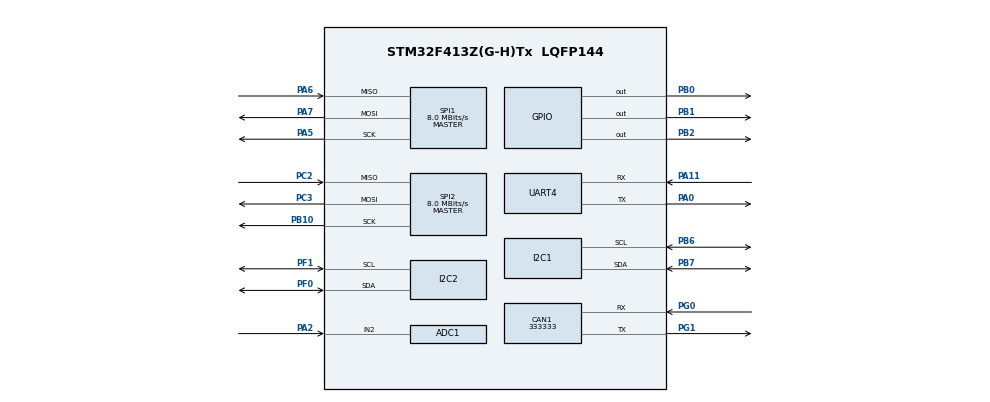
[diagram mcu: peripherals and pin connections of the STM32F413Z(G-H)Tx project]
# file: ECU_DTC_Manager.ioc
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ADC1.Channel-2\#ChannelRegularConversion=ADC_CHANNEL_2
ADC1.NbrOfConversionFlag=1
ADC1.Rank-2\#ChannelRegularConversion=1
ADC1.SamplingTime-2\#ChannelRegularConversion=ADC_SAMPLETIME_3CYCLES
ADC1.master=1
CAN1.CalculateBaudRate=333333
CAN1.CalculateTimeBit=3000
CAN1.CalculateTimeQuantum=1000.0
Dma.I2C1_RX.0.Direction=DMA_PERIPH_TO_MEMORY
Dma.I2C1_RX.0.FIFOMode=DMA_FIFOMODE_DISABLE
Dma.I2C1_RX.0.Instance=DMA1_Stream0
Dma.I2C1_RX.0.MemDataAlignment=DMA_MDATAALIGN_BYTE
Dma.I2C1_RX.0.MemInc=DMA_MINC_ENABLE
Dma.I2C1_RX.0.Mode=DMA_NORMAL
Dma.I2C1_RX.0.PeriphDataAlignment=DMA_PDATAALIGN_BYTE
Dma.I2C1_RX.0.PeriphInc=DMA_PINC_DISABLE
Dma.I2C1_RX.0.Priority=DMA_PRIORITY_MEDIUM
Dma.I2C1_TX.1.Direction=DMA_MEMORY_TO_PERIPH
Dma.I2C1_TX.1.FIFOMode=DMA_FIFOMODE_DISABLE
Dma.I2C1_TX.1.Instance=DMA1_Stream6
Dma.I2C1_TX.1.MemDataAlignment=DMA_MDATAALIGN_BYTE
Dma.I2C1_TX.1.MemInc=DMA_MINC_ENABLE
Dma.I2C1_TX.1.Mode=DMA_NORMAL
Dma.I2C1_TX.1.PeriphDataAlignment=DMA_PDATAALIGN_BYTE
Dma.I2C1_TX.1.PeriphInc=DMA_PINC_DISABLE
Dma.I2C1_TX.1.Priority=DMA_PRIORITY_MEDIUM
Dma.I2C2_RX.2.Direction=DMA_PERIPH_TO_MEMORY
Dma.I2C2_RX.2.FIFOMode=DMA_FIFOMODE_DISABLE
Dma.I2C2_RX.2.Instance=DMA1_Stream2
Dma.I2C2_RX.2.MemDataAlignment=DMA_MDATAALIGN_BYTE
Dma.I2C2_RX.2.MemInc=DMA_MINC_ENABLE
Dma.I2C2_RX.2.Mode=DMA_NORMAL
Dma.I2C2_RX.2.PeriphDataAlignment=DMA_PDATAALIGN_BYTE
Dma.I2C2_RX.2.PeriphInc=DMA_PINC_DISABLE
Dma.I2C2_RX.2.Priority=DMA_PRIORITY_LOW
Dma.I2C2_TX.3.Direction=DMA_MEMORY_TO_PERIPH
Dma.I2C2_TX.3.FIFOMode=DMA_FIFOMODE_DISABLE
Dma.I2C2_TX.3.Instance=DMA1_Stream7
Dma.I2C2_TX.3.MemDataAlignment=DMA_MDATAALIGN_BYTE
Dma.I2C2_TX.3.MemInc=DMA_MINC_ENABLE
Dma.I2C2_TX.3.Mode=DMA_NORMAL
Dma.I2C2_TX.3.PeriphDataAlignment=DMA_PDATAALIGN_BYTE
Dma.I2C2_TX.3.PeriphInc=DMA_PINC_DISABLE
Dma.I2C2_TX.3.Priority=DMA_PRIORITY_LOW
Dma.Request0=I2C1_RX
Dma.Request1=I2C1_TX
Dma.Request2=I2C2_RX
Dma.Request3=I2C2_TX
Dma.Request4=SPI1_RX
Dma.Request5=SPI1_TX
Dma.Request6=SPI2_RX
Dma.Request7=SPI2_TX
Dma.SPI1_RX.4.Direction=DMA_PERIPH_TO_MEMORY
Dma.SPI1_RX.4.FIFOMode=DMA_FIFOMODE_DISABLE
Dma.SPI1_RX.4.Instance=DMA2_Stream0
Dma.SPI1_RX.4.MemDataAlignment=DMA_MDATAALIGN_BYTE
Dma.SPI1_RX.4.MemInc=DMA_MINC_ENABLE
Dma.SPI1_RX.4.Mode=DMA_NORMAL
Dma.SPI1_RX.4.PeriphDataAlignment=DMA_PDATAALIGN_BYTE
Dma.SPI1_RX.4.PeriphInc=DMA_PINC_DISABLE
Dma.SPI1_RX.4.Priority=DMA_PRIORITY_LOW
Dma.SPI1_TX.5.Direction=DMA_MEMORY_TO_PERIPH
Dma.SPI1_TX.5.FIFOMode=DMA_FIFOMODE_DISABLE
Dma.SPI1_TX.5.Instance=DMA2_Stream3
Dma.SPI1_TX.5.MemDataAlignment=DMA_MDATAALIGN_BYTE
Dma.SPI1_TX.5.MemInc=DMA_MINC_ENABLE
Dma.SPI1_TX.5.Mode=DMA_NORMAL
Dma.SPI1_TX.5.PeriphDataAlignment=DMA_PDATAALIGN_BYTE
Dma.SPI1_TX.5.PeriphInc=DMA_PINC_DISABLE
Dma.SPI1_TX.5.Priority=DMA_PRIORITY_LOW
Dma.SPI2_RX.6.Direction=DMA_PERIPH_TO_MEMORY
Dma.SPI2_RX.6.FIFOMode=DMA_FIFOMODE_DISABLE
Dma.SPI2_RX.6.Instance=DMA1_Stream3
Dma.SPI2_RX.6.MemDataAlignment=DMA_MDATAALIGN_BYTE
Dma.SPI2_RX.6.MemInc=DMA_MINC_ENABLE
Dma.SPI2_RX.6.Mode=DMA_NORMAL
Dma.SPI2_RX.6.PeriphDataAlignment=DMA_PDATAALIGN_BYTE
Dma.SPI2_RX.6.PeriphInc=DMA_PINC_DISABLE
Dma.SPI2_RX.6.Priority=DMA_PRIORITY_LOW
Dma.SPI2_TX.7.Direction=DMA_MEMORY_TO_PERIPH
Dma.SPI2_TX.7.FIFOMode=DMA_FIFOMODE_DISABLE
Dma.SPI2_TX.7.Instance=DMA1_Stream4
Dma.SPI2_TX.7.MemDataAlignment=DMA_MDATAALIGN_BYTE
Dma.SPI2_TX.7.MemInc=DMA_MINC_ENABLE
Dma.SPI2_TX.7.Mode=DMA_NORMAL
Dma.SPI2_TX.7.PeriphDataAlignment=DMA_PDATAALIGN_BYTE
Dma.SPI2_TX.7.PeriphInc=DMA_PINC_DISABLE
Dma.SPI2_TX.7.Priority=DMA_PRIORITY_LOW
FREERTOS.Mutexes01=CommMutexHandle,Dynamic,NULL,Available
FREERTOS.Queues01=CanQueue,8,8,1,Dynamic,NULL,NULL
FREERTOS.Tasks01=defaultTask,24,128,StartDefaultTask,Default,NULL,Dynamic,NULL,NULL;I2CTask,24,128,StartI2CTask,Default,NULL,Dynamic,NULL,NULL;SPITask,24,128,StartSPITask,Default,NULL,Dynamic,NULL,NULL;CANTask,24,128,StartCANTask,Default,NULL,Dynamic,NULL,NULL;UARTTask,24,128,StartUARTTask,Default,NULL,Dynamic,NULL,NULL
Mcu.Family=STM32F4
Mcu.Name=STM32F413Z(G-H)Tx
Mcu.Package=LQFP144
NVIC.CAN1_RX0_IRQn=true\:5\:0\:false\:false\:true\:true\:true\:true\:true
NVIC.CAN1_TX_IRQn=true\:5\:0\:false\:false\:true\:true\:true\:true\:true
NVIC.DMA1_Stream0_IRQn=true\:5\:0\:false\:false\:true\:true\:false\:true\:true
NVIC.DMA1_Stream2_IRQn=true\:5\:0\:false\:false\:true\:true\:false\:true\:true
NVIC.DMA1_Stream3_IRQn=true\:5\:0\:false\:false\:true\:true\:false\:true\:true
NVIC.DMA1_Stream4_IRQn=true\:5\:0\:false\:false\:true\:true\:false\:true\:true
NVIC.DMA1_Stream6_IRQn=true\:0\:0\:false\:false\:true\:false\:false\:true\:true
NVIC.DMA1_Stream7_IRQn=true\:5\:0\:false\:false\:true\:true\:false\:true\:true
NVIC.DMA2_Stream0_IRQn=true\:5\:0\:false\:false\:true\:true\:false\:true\:true
NVIC.DMA2_Stream3_IRQn=true\:0\:0\:false\:false\:true\:false\:false\:true\:true
NVIC.I2C1_ER_IRQn=true\:5\:0\:false\:false\:true\:true\:true\:true\:true
NVIC.I2C1_EV_IRQn=true\:5\:0\:false\:false\:true\:true\:true\:true\:true
NVIC.I2C2_EV_IRQn=true\:5\:0\:false\:false\:true\:true\:true\:true\:true
NVIC.PriorityGroup=NVIC_PRIORITYGROUP_4
NVIC.SPI1_IRQn=true\:5\:0\:false\:false\:true\:true\:true\:true\:true
NVIC.SPI2_IRQn=true\:5\:0\:false\:false\:true\:true\:true\:true\:true
NVIC.UART4_IRQn=true\:5\:0\:false\:false\:true\:true\:true\:true\:true
PA0.Mode=Asynchronous
PA0.Signal=UART4_TX
PA11.Mode=Asynchronous
PA11.Signal=UART4_RX
PA2.Signal=ADCx_IN2
PA5.Mode=Full_Duplex_Master
PA5.Signal=SPI1_SCK
PA6.Mode=Full_Duplex_Master
PA6.Signal=SPI1_MISO
PA7.Mode=Full_Duplex_Master
PA7.Signal=SPI1_MOSI
PB0.GPIO_Speed=GPIO_SPEED_FREQ_MEDIUM
PB0.PinState=GPIO_PIN_SET
PB0.Signal=GPIO_Output
PB1.GPIO_Speed=GPIO_SPEED_FREQ_MEDIUM
PB1.PinState=GPIO_PIN_SET
PB1.Signal=GPIO_Output
PB10.Mode=Full_Duplex_Master
PB10.Signal=SPI2_SCK
PB2.GPIO_ModeDefaultOutputPP=GPIO_MODE_OUTPUT_OD
PB2.GPIO_PuPd=GPIO_NOPULL
PB2.GPIO_Speed=GPIO_SPEED_FREQ_MEDIUM
PB2.PinState=GPIO_PIN_SET
PB2.Signal=GPIO_Output
PB6.Mode=I2C
PB6.Signal=I2C1_SCL
PB7.Mode=I2C
PB7.Signal=I2C1_SDA
PC2.Mode=Full_Duplex_Master
PC2.Signal=SPI2_MISO
PC3.Mode=Full_Duplex_Master
PC3.Signal=SPI2_MOSI
PF0.Mode=I2C
PF0.Signal=I2C2_SDA
PF1.Mode=I2C
PF1.Signal=I2C2_SCL
PG0.Mode=CAN_Activate
PG0.Signal=CAN1_RX
PG1.Mode=CAN_Activate
PG1.Signal=CAN1_TX
ProjectManager.HeapSize=0x200
ProjectManager.StackSize=0x400
ProjectManager.TargetToolchain=STM32CubeIDE
RCC.CortexFreq_Value=16000000
RCC.USBFreq_Value=96000000
RCC.VCOOutputFreq_Value=192000000
SH.ADCx_IN2.0=ADC1_IN2,IN2
SPI1.CalculateBaudRate=8.0 MBits/s
SPI1.Direction=SPI_DIRECTION_2LINES
SPI1.Mode=SPI_MODE_MASTER
SPI1.VirtualType=VM_MASTER
SPI2.CalculateBaudRate=8.0 MBits/s
SPI2.Direction=SPI_DIRECTION_2LINES
SPI2.Mode=SPI_MODE_MASTER
SPI2.VirtualType=VM_MASTER
UART4.VirtualMode=Asynchronous
VP_FREERTOS_VS_CMSIS_V2.Mode=CMSIS_V2
board=custom

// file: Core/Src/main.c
/* USER CODE BEGIN Header */
/**
  ******************************************************************************
  * @file           : main.c
  * @brief          : Main program body
  ******************************************************************************
  * @attention
  *
  * <h2><center>&copy; Copyright (c) 2025 STMicroelectronics.
  * All rights reserved.</center></h2>
  *
  * This software component is licensed by ST under BSD 3-Clause license,
  * the "License"; You may not use this file except in compliance with the
  * License. You may obtain a copy of the License at:
  *                        opensource.org/licenses/BSD-3-Clause
  *
  ******************************************************************************
  */
/* USER CODE END Header */
#include "main.h"
#include "cmsis_os.h"

#include "tasks.h"
#include "pmic_mp5475gu.h"
#include "eeprom_25lc256.h"
#include "yj_can.h"

ADC_HandleTypeDef hadc1;

CAN_HandleTypeDef hcan1;

I2C_HandleTypeDef hi2c1;
I2C_HandleTypeDef hi2c2;
DMA_HandleTypeDef hdma_i2c1_rx;
DMA_HandleTypeDef hdma_i2c1_tx;
DMA_HandleTypeDef hdma_i2c2_rx;
DMA_HandleTypeDef hdma_i2c2_tx;

SPI_HandleTypeDef hspi1;
SPI_HandleTypeDef hspi2;
DMA_HandleTypeDef hdma_spi1_rx;
DMA_HandleTypeDef hdma_spi1_tx;
DMA_HandleTypeDef hdma_spi2_rx;
DMA_HandleTypeDef hdma_spi2_tx;

UART_HandleTypeDef huart4;

/* Definitions for defaultTask */
osThreadId_t defaultTaskHandle;
const osThreadAttr_t defaultTask_attributes = {
  .name = "defaultTask",
  .stack_size = 128 * 4,
  .priority = (osPriority_t) osPriorityNormal,
};
/* Definitions for I2CTask */
osThreadId_t I2CTaskHandle;
const osThreadAttr_t I2CTask_attributes = {
  .name = "I2CTask",
  .stack_size = 128 * 4,
  .priority = (osPriority_t) osPriorityNormal,
};
/* Definitions for SPITask */
osThreadId_t SPITaskHandle;
const osThreadAttr_t SPITask_attributes = {
  .name = "SPITask",
  .stack_size = 128 * 4,
  .priority = (osPriority_t) osPriorityNormal,
};
/* Definitions for CANTask */
osThreadId_t CANTaskHandle;
const osThreadAttr_t CANTask_attributes = {
  .name = "CANTask",
  .stack_size = 128 * 4,
  .priority = (osPriority_t) osPriorityNormal,
};
/* Definitions for ADCTask */
osThreadId_t ADCTaskHandle;
const osThreadAttr_t ADCTask_attributes = {
  .name = "ADCTask",
  .stack_size = 128 * 4,
  .priority = (osPriority_t) osPriorityNormal,
};
/* Definitions for UARTTask */
osThreadId_t UARTTaskHandle;
const osThreadAttr_t UARTTask_attributes = {
  .name = "UARTTask",
  .stack_size = 128 * 4,
  .priority = (osPriority_t) osPriorityNormal,
};
/* Definitions for CanQueue */
osMessageQueueId_t CanQueueHandle;
const osMessageQueueAttr_t CanQueue_attributes = {
  .name = "CanQueue"
};
/* Definitions for CommMutexHandle */
osMutexId_t CommMutexHandleHandle;
const osMutexAttr_t CommMutexHandle_attributes = {
  .name = "CommMutexHandle"
};
/* USER CODE BEGIN PV */

// SPITask로 들어오는 모든 요청을 담는 메시지 큐
osMessageQueueId_t DTC_RequestQueueHandle;
const osMessageQueueAttr_t DTC_RequestQueue_attributes = {
  .name = "DTC_RequestQueue"
};

// SPITask가 CANTask로 응답을 보내는 메시지 큐
osMessageQueueId_t DTC_ResponseQueueHandle;
const osMessageQueueAttr_t DTC_ResponseQueue_attributes = {
  .name = "DTC_ResponseQueue"
};

// EEPROM 접근 제어를 위한 뮤텍스
osMutexId_t EepromMutexHandle;
const osMutexAttr_t EepromMutex_attributes = {
  .name = "EepromMutex"
};

/* USER CODE END PV */

void SystemClock_Config(void);
static void MX_GPIO_Init(void);
static void MX_DMA_Init(void);
static void MX_ADC1_Init(void);
static void MX_CAN1_Init(void);
static void MX_I2C1_Init(void);
static void MX_I2C2_Init(void);
static void MX_SPI1_Init(void);
static void MX_SPI2_Init(void);
static void MX_UART4_Init(void);

int main(void)
{

  /* MCU Configuration--------------------------------------------------------*/

  /* Reset of all peripherals, Initializes the Flash interface and the Systick. */
  HAL_Init();

  /* Configure the system clock */
  SystemClock_Config();

  /* Initialize all configured peripherals */
  MX_GPIO_Init();
  MX_DMA_Init();
  MX_ADC1_Init();
  MX_CAN1_Init();
  MX_I2C1_Init();
  MX_I2C2_Init();
  MX_SPI1_Init();
  MX_SPI2_Init();
  MX_UART4_Init();
  /* USER CODE BEGIN 2 */
  PMIC_Init();
  EEPROM_Init();

  /* USER CODE END 2 */

  /* Init scheduler */
  osKernelInitialize();
  /* Create the mutex(es) */
  /* creation of CommMutexHandle */
  CommMutexHandleHandle = osMutexNew(&CommMutexHandle_attributes);

  /* USER CODE BEGIN RTOS_MUTEX */
  /* add mutexes, ... */

  EepromMutexHandle = osMutexNew(&EepromMutex_attributes);

  /* USER CODE END RTOS_MUTEX */

  /* Create the queue(s) */
  /* creation of CanQueue */

  /* USER CODE BEGIN RTOS_QUEUES */
  /* add queues, ... */
  CanQueueHandle = osMessageQueueNew (8, sizeof(CAN_Message_t), &CanQueue_attributes);
  DTC_RequestQueueHandle = osMessageQueueNew(16, sizeof(DTC_RequestMessage_t), &DTC_RequestQueue_attributes);
  DTC_ResponseQueueHandle = osMessageQueueNew(1, sizeof(DTC_ResponseMessage_t), &DTC_ResponseQueue_attributes);

  /* USER CODE END RTOS_QUEUES */

  /* Create the thread(s) */
  /* creation of defaultTask */
  defaultTaskHandle = osThreadNew(StartDefaultTask, NULL, &defaultTask_attributes);

  /* creation of I2CTask */
  I2CTaskHandle = osThreadNew(StartI2CTask, NULL, &I2CTask_attributes);

  /* creation of SPITask */
  SPITaskHandle = osThreadNew(StartSPITask, NULL, &SPITask_attributes);

  /* creation of CANTask */
  CANTaskHandle = osThreadNew(StartCANTask, NULL, &CANTask_attributes);

  /* creation of ADCTask */
  ADCTaskHandle = osThreadNew(StartADCTask, NULL, &ADCTask_attributes);

  /* creation of UARTTask */
  UARTTaskHandle = osThreadNew(StartUARTTask, NULL, &UARTTask_attributes);

  /* Start scheduler */
  osKernelStart();

  /* We should never get here as control is now taken by the scheduler */
  /* Infinite loop */
  while (1)
  {

  }
}

void SystemClock_Config(void)
{
  RCC_OscInitTypeDef RCC_OscInitStruct = {0};
  RCC_ClkInitTypeDef RCC_ClkInitStruct = {0};

  /** Configure the main internal regulator output voltage
  */
  __HAL_RCC_PWR_CLK_ENABLE();
  __HAL_PWR_VOLTAGESCALING_CONFIG(PWR_REGULATOR_VOLTAGE_SCALE1);
  /** Initializes the RCC Oscillators according to the specified parameters
  * in the RCC_OscInitTypeDef structure.
  */
  RCC_OscInitStruct.OscillatorType = RCC_OSCILLATORTYPE_HSI;
  RCC_OscInitStruct.HSIState = RCC_HSI_ON;
  RCC_OscInitStruct.HSICalibrationValue = RCC_HSICALIBRATION_DEFAULT;
  RCC_OscInitStruct.PLL.PLLState = RCC_PLL_NONE;
  if (HAL_RCC_OscConfig(&RCC_OscInitStruct) != HAL_OK)
  {
    Error_Handler();
  }
  /** Initializes the CPU, AHB and APB buses clocks
  */
  RCC_ClkInitStruct.ClockType = RCC_CLOCKTYPE_HCLK|RCC_CLOCKTYPE_SYSCLK
                              |RCC_CLOCKTYPE_PCLK1|RCC_CLOCKTYPE_PCLK2;
  RCC_ClkInitStruct.SYSCLKSource = RCC_SYSCLKSOURCE_HSI;
  RCC_ClkInitStruct.AHBCLKDivider = RCC_SYSCLK_DIV1;
  RCC_ClkInitStruct.APB1CLKDivider = RCC_HCLK_DIV1;
  RCC_ClkInitStruct.APB2CLKDivider = RCC_HCLK_DIV1;

  if (HAL_RCC_ClockConfig(&RCC_ClkInitStruct, FLASH_LATENCY_0) != HAL_OK)
  {
    Error_Handler();
  }
}

static void MX_ADC1_Init(void)
{

  ADC_ChannelConfTypeDef sConfig = {0};

  /** Configure the global features of the ADC (Clock, Resolution, Data Alignment and number of conversion)
  */
  hadc1.Instance = ADC1;
  hadc1.Init.ClockPrescaler = ADC_CLOCK_SYNC_PCLK_DIV2;
  hadc1.Init.Resolution = ADC_RESOLUTION_12B;
  hadc1.Init.ScanConvMode = DISABLE;
  hadc1.Init.ContinuousConvMode = DISABLE;
  hadc1.Init.DiscontinuousConvMode = DISABLE;
  hadc1.Init.ExternalTrigConvEdge = ADC_EXTERNALTRIGCONVEDGE_NONE;
  hadc1.Init.ExternalTrigConv = ADC_SOFTWARE_START;
  hadc1.Init.DataAlign = ADC_DATAALIGN_RIGHT;
  hadc1.Init.NbrOfConversion = 1;
  hadc1.Init.DMAContinuousRequests = DISABLE;
  hadc1.Init.EOCSelection = ADC_EOC_SINGLE_CONV;
  if (HAL_ADC_Init(&hadc1) != HAL_OK)
  {
    Error_Handler();
  }
  /** Configure for the selected ADC regular channel its corresponding rank in the sequencer and its sample time.
  */
  sConfig.Channel = ADC_CHANNEL_2;
  sConfig.Rank = 1;
  sConfig.SamplingTime = ADC_SAMPLETIME_3CYCLES;
  if (HAL_ADC_ConfigChannel(&hadc1, &sConfig) != HAL_OK)
  {
    Error_Handler();
  }

}

static void MX_CAN1_Init(void)
{

  hcan1.Instance = CAN1;
  hcan1.Init.Prescaler = 16;
  hcan1.Init.Mode = CAN_MODE_NORMAL;
  hcan1.Init.SyncJumpWidth = CAN_SJW_1TQ;
  hcan1.Init.TimeSeg1 = CAN_BS1_1TQ;
  hcan1.Init.TimeSeg2 = CAN_BS2_1TQ;
  hcan1.Init.TimeTriggeredMode = DISABLE;
  hcan1.Init.AutoBusOff = DISABLE;
  hcan1.Init.AutoWakeUp = DISABLE;
  hcan1.Init.AutoRetransmission = DISABLE;
  hcan1.Init.ReceiveFifoLocked = DISABLE;
  hcan1.Init.TransmitFifoPriority = DISABLE;
  if (HAL_CAN_Init(&hcan1) != HAL_OK)
  {
    Error_Handler();
  }

}

static void MX_I2C1_Init(void)
{

  hi2c1.Instance = I2C1;
  hi2c1.Init.ClockSpeed = 100000;
  hi2c1.Init.DutyCycle = I2C_DUTYCYCLE_2;
  hi2c1.Init.OwnAddress1 = 0;
  hi2c1.Init.AddressingMode = I2C_ADDRESSINGMODE_7BIT;
  hi2c1.Init.DualAddressMode = I2C_DUALADDRESS_DISABLE;
  hi2c1.Init.OwnAddress2 = 0;
  hi2c1.Init.GeneralCallMode = I2C_GENERALCALL_DISABLE;
  hi2c1.Init.NoStretchMode = I2C_NOSTRETCH_DISABLE;
  if (HAL_I2C_Init(&hi2c1) != HAL_OK)
  {
    Error_Handler();
  }

}

static void MX_I2C2_Init(void)
{

  hi2c2.Instance = I2C2;
  hi2c2.Init.ClockSpeed = 100000;
  hi2c2.Init.DutyCycle = I2C_DUTYCYCLE_2;
  hi2c2.Init.OwnAddress1 = 0;
  hi2c2.Init.AddressingMode = I2C_ADDRESSINGMODE_7BIT;
  hi2c2.Init.DualAddressMode = I2C_DUALADDRESS_DISABLE;
  hi2c2.Init.OwnAddress2 = 0;
  hi2c2.Init.GeneralCallMode = I2C_GENERALCALL_DISABLE;
  hi2c2.Init.NoStretchMode = I2C_NOSTRETCH_DISABLE;
  if (HAL_I2C_Init(&hi2c2) != HAL_OK)
  {
    Error_Handler();
  }

}

static void MX_SPI1_Init(void)
{

  /* SPI1 parameter configuration*/
  hspi1.Instance = SPI1;
  hspi1.Init.Mode = SPI_MODE_MASTER;
  hspi1.Init.Direction = SPI_DIRECTION_2LINES;
  hspi1.Init.DataSize = SPI_DATASIZE_8BIT;
  hspi1.Init.CLKPolarity = SPI_POLARITY_LOW;
  hspi1.Init.CLKPhase = SPI_PHASE_1EDGE;
  hspi1.Init.NSS = SPI_NSS_SOFT;
  hspi1.Init.BaudRatePrescaler = SPI_BAUDRATEPRESCALER_2;
  hspi1.Init.FirstBit = SPI_FIRSTBIT_MSB;
  hspi1.Init.TIMode = SPI_TIMODE_DISABLE;
  hspi1.Init.CRCCalculation = SPI_CRCCALCULATION_DISABLE;
  hspi1.Init.CRCPolynomial = 10;
  if (HAL_SPI_Init(&hspi1) != HAL_OK)
  {
    Error_Handler();
  }

}

static void MX_SPI2_Init(void)
{

  /* SPI2 parameter configuration*/
  hspi2.Instance = SPI2;
  hspi2.Init.Mode = SPI_MODE_MASTER;
  hspi2.Init.Direction = SPI_DIRECTION_2LINES;
  hspi2.Init.DataSize = SPI_DATASIZE_8BIT;
  hspi2.Init.CLKPolarity = SPI_POLARITY_LOW;
  hspi2.Init.CLKPhase = SPI_PHASE_1EDGE;
  hspi2.Init.NSS = SPI_NSS_SOFT;
  hspi2.Init.BaudRatePrescaler = SPI_BAUDRATEPRESCALER_2;
  hspi2.Init.FirstBit = SPI_FIRSTBIT_MSB;
  hspi2.Init.TIMode = SPI_TIMODE_DISABLE;
  hspi2.Init.CRCCalculation = SPI_CRCCALCULATION_DISABLE;
  hspi2.Init.CRCPolynomial = 10;
  if (HAL_SPI_Init(&hspi2) != HAL_OK)
  {
    Error_Handler();
  }

}

static void MX_UART4_Init(void)
{

  huart4.Instance = UART4;
  huart4.Init.BaudRate = 115200;
  huart4.Init.WordLength = UART_WORDLENGTH_8B;
  huart4.Init.StopBits = UART_STOPBITS_1;
  huart4.Init.Parity = UART_PARITY_NONE;
  huart4.Init.Mode = UART_MODE_TX_RX;
  huart4.Init.HwFlowCtl = UART_HWCONTROL_NONE;
  huart4.Init.OverSampling = UART_OVERSAMPLING_16;
  if (HAL_UART_Init(&huart4) != HAL_OK)
  {
    Error_Handler();
  }

}

static void MX_DMA_Init(void)
{

  /* DMA controller clock enable */
  __HAL_RCC_DMA1_CLK_ENABLE();
  __HAL_RCC_DMA2_CLK_ENABLE();

  /* DMA interrupt init */
  /* DMA1_Stream0_IRQn interrupt configuration */
  HAL_NVIC_SetPriority(DMA1_Stream0_IRQn, 5, 0);
  HAL_NVIC_EnableIRQ(DMA1_Stream0_IRQn);
  /* DMA1_Stream2_IRQn interrupt configuration */
  HAL_NVIC_SetPriority(DMA1_Stream2_IRQn, 5, 0);
  HAL_NVIC_EnableIRQ(DMA1_Stream2_IRQn);
  /* DMA1_Stream3_IRQn interrupt configuration */
  HAL_NVIC_SetPriority(DMA1_Stream3_IRQn, 5, 0);
  HAL_NVIC_EnableIRQ(DMA1_Stream3_IRQn);
  /* DMA1_Stream4_IRQn interrupt configuration */
  HAL_NVIC_SetPriority(DMA1_Stream4_IRQn, 5, 0);
  HAL_NVIC_EnableIRQ(DMA1_Stream4_IRQn);
  /* DMA1_Stream6_IRQn interrupt configuration */
  HAL_NVIC_SetPriority(DMA1_Stream6_IRQn, 0, 0);
  HAL_NVIC_EnableIRQ(DMA1_Stream6_IRQn);
  /* DMA1_Stream7_IRQn interrupt configuration */
  HAL_NVIC_SetPriority(DMA1_Stream7_IRQn, 5, 0);
  HAL_NVIC_EnableIRQ(DMA1_Stream7_IRQn);
  /* DMA2_Stream0_IRQn interrupt configuration */
  HAL_NVIC_SetPriority(DMA2_Stream0_IRQn, 5, 0);
  HAL_NVIC_EnableIRQ(DMA2_Stream0_IRQn);
  /* DMA2_Stream3_IRQn interrupt configuration */
  HAL_NVIC_SetPriority(DMA2_Stream3_IRQn, 0, 0);
  HAL_NVIC_EnableIRQ(DMA2_Stream3_IRQn);

}

static void MX_GPIO_Init(void)
{
  GPIO_InitTypeDef GPIO_InitStruct = {0};

  /* GPIO Ports Clock Enable */
  __HAL_RCC_GPIOF_CLK_ENABLE();
  __HAL_RCC_GPIOC_CLK_ENABLE();
  __HAL_RCC_GPIOA_CLK_ENABLE();
  __HAL_RCC_GPIOB_CLK_ENABLE();
  __HAL_RCC_GPIOG_CLK_ENABLE();

  /*Configure GPIO pin Output Level */
  HAL_GPIO_WritePin(GPIOB, GPIO_PIN_0|GPIO_PIN_1|GPIO_PIN_2, GPIO_PIN_SET);

  /*Configure GPIO pins : PB0 PB1 */
  GPIO_InitStruct.Pin = GPIO_PIN_0|GPIO_PIN_1;
  GPIO_InitStruct.Mode = GPIO_MODE_OUTPUT_PP;
  GPIO_InitStruct.Pull = GPIO_NOPULL;
  GPIO_InitStruct.Speed = GPIO_SPEED_FREQ_MEDIUM;
  HAL_GPIO_Init(GPIOB, &GPIO_InitStruct);

  /*Configure GPIO pin : PB2 */
  GPIO_InitStruct.Pin = GPIO_PIN_2;
  GPIO_InitStruct.Mode = GPIO_MODE_OUTPUT_OD;
  GPIO_InitStruct.Pull = GPIO_NOPULL;
  GPIO_InitStruct.Speed = GPIO_SPEED_FREQ_MEDIUM;
  HAL_GPIO_Init(GPIOB, &GPIO_InitStruct);

}

void Error_Handler(void)
{
  __disable_irq();
  while (1)
  {
  }
}

/************************ (C) COPYRIGHT STMicroelectronics *****END OF FILE****/
